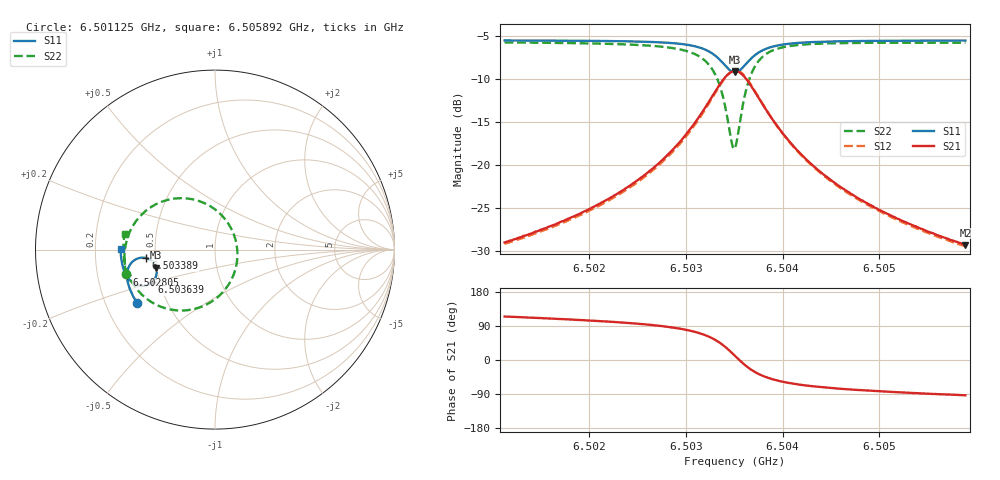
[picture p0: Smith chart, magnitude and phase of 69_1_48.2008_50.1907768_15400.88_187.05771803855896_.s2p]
#  HZ  S  RI  R  50.00
! Rohde & Schwarz Vector Network Analyzer
! Rohde-Schwarz,ZNB20-2Port,1311601062101988,3.16
! Created: UTC 3/20/2024, 11:39:05 AM
! freq[Hz]  re:S11  im:S11  re:S21  im:S21  re:S12  im:S12  re:S22  im:S22
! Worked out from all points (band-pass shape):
!   401 points, 6.501125 GHz to 6.505892 GHz, reference 50 ohm
!   highest |S21| = -9.13 dB at 6.503508 GHz (marker M1); lowest = -29.3 dB at 6.505892 GHz (marker M2)
!   |S21| within 3 dB of the highest: 6.503269 GHz to 6.503746 GHz (476.9 kHz wide, 0.00733 % of centre)
!   lowest |S11| = -9.3 dB at 6.503508 GHz (marker M3), VSWR 2.04, Z = 24.9 - j5.7 ohm
!   |S11| at or under -10 dB: nowhere
!   |S22| runs from -18.2 to -5.8 dB; largest |S21 - S12| = 0.012
!   S11 on the Smith chart (normalised r, x): 6.501125 GHz: 0.34, -0.28; 6.502805 GHz: 0.33, -0.13; 6.503389 GHz: 0.44, -0.05; 6.503639 GHz: 0.45, -0.20; 6.505892 GHz: 0.31, +0.01
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6.5011248e9  -0.4342 -0.2976  -0.0147 0.0321  -0.013 0.0321  -0.4945 -0.1371
6.5019232e9  -0.4674 -0.2368  -0.0139 0.0507  -0.0113 0.0502  -0.5045 -0.049
6.5023642e9  -0.4822 -0.1965  -0.0105 0.0713  -0.00739 0.0699  -0.4993 0.0169
6.5027217e9  -0.4899 -0.1551  -0.000584 0.1021  0.00301 0.0996  -0.4771 0.0933
6.5028051e9  -0.4901 -0.1436  0.00433 0.1129  0.00813 0.1099  -0.4663 0.1166
6.5030077e9  -0.4853 -0.1095  0.0277 0.1485  0.0316 0.1438  -0.4172 0.1861
6.5031507e9  -0.4705 -0.0793  0.0666 0.1829  0.0694 0.1769  -0.3416 0.2458
6.5032937e9  -0.431 -0.0497  0.1512 0.2121  0.1518 0.2056  -0.1873 0.2865
6.503389e9  -0.383 -0.0473  0.2455 0.1942  0.2457 0.1895  -0.0239 0.2404
6.5034724e9  -0.3389 -0.0781  0.3257 0.1165  0.3284 0.1121  0.104 0.0867
6.5035082e9  -0.3279 -0.1011  0.3434 0.0661  0.3474 0.0602  0.1246 -0.00838
6.503532e9  -0.3248 -0.1178  0.3467 0.0303  0.351 0.0231  0.1215 -0.0741
6.5035678e9  -0.3273 -0.1429  0.3387 -0.0212  0.3423 -0.0307  0.0924 -0.1659
6.5036393e9  -0.3503 -0.1811  0.29 -0.0997  0.2899 -0.1117  -0.0228 -0.2922
6.5037346e9  -0.3924 -0.2012  0.2093 -0.1437  0.2038 -0.1543  -0.1876 -0.3395
6.5038061e9  -0.4191 -0.2011  0.1601 -0.1489  0.1531 -0.1571  -0.2793 -0.326
6.5038895e9  -0.4428 -0.1939  0.1184 -0.1427  0.1111 -0.1483  -0.3524 -0.2934
6.5040564e9  -0.4726 -0.1727  0.0692 -0.1208  0.0626 -0.1233  -0.4322 -0.224
6.5043066e9  -0.4952 -0.1415  0.0355 -0.0933  0.0303 -0.0937  -0.481 -0.1446
6.504688e9  -0.5117 -0.1005  0.0149 -0.0674  0.0114 -0.0668  -0.5049 -0.0641
6.505105e9  -0.5205 -0.0611  0.00543 -0.051  0.00307 -0.0502  -0.5109 -0.00213
6.5058916e9  -0.5261 0.00611  -0.00195 -0.0341  -0.00328 -0.0335  -0.5038 0.0844
